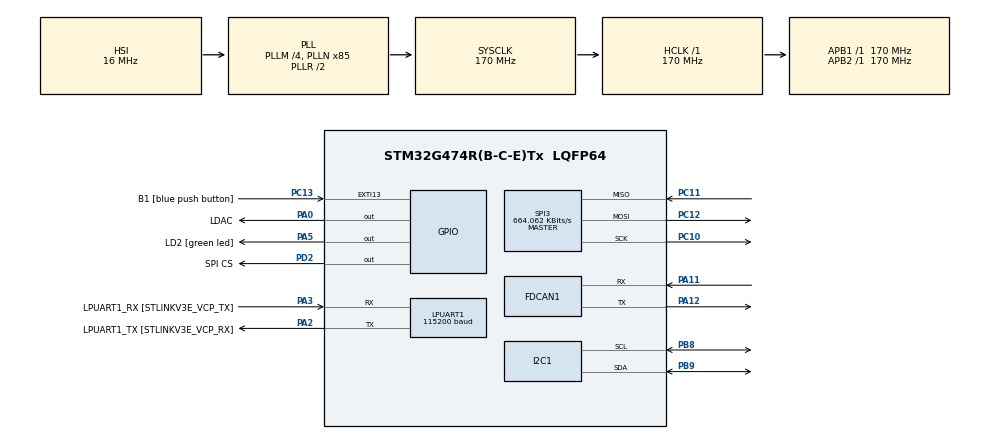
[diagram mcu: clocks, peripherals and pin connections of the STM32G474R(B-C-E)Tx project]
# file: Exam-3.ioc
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Dma.I2C1_RX.0.Direction=DMA_PERIPH_TO_MEMORY
Dma.I2C1_RX.0.EventEnable=DISABLE
Dma.I2C1_RX.0.Instance=DMA1_Channel1
Dma.I2C1_RX.0.MemDataAlignment=DMA_MDATAALIGN_BYTE
Dma.I2C1_RX.0.MemInc=DMA_MINC_ENABLE
Dma.I2C1_RX.0.Mode=DMA_NORMAL
Dma.I2C1_RX.0.PeriphDataAlignment=DMA_PDATAALIGN_BYTE
Dma.I2C1_RX.0.PeriphInc=DMA_PINC_DISABLE
Dma.I2C1_RX.0.Polarity=HAL_DMAMUX_REQ_GEN_RISING
Dma.I2C1_RX.0.Priority=DMA_PRIORITY_LOW
Dma.I2C1_RX.0.RequestNumber=1
Dma.I2C1_RX.0.SignalID=NONE
Dma.I2C1_RX.0.SyncEnable=DISABLE
Dma.I2C1_RX.0.SyncPolarity=HAL_DMAMUX_SYNC_NO_EVENT
Dma.I2C1_RX.0.SyncRequestNumber=1
Dma.I2C1_RX.0.SyncSignalID=NONE
Dma.I2C1_TX.1.Direction=DMA_MEMORY_TO_PERIPH
Dma.I2C1_TX.1.EventEnable=DISABLE
Dma.I2C1_TX.1.Instance=DMA1_Channel2
Dma.I2C1_TX.1.MemDataAlignment=DMA_MDATAALIGN_BYTE
Dma.I2C1_TX.1.MemInc=DMA_MINC_ENABLE
Dma.I2C1_TX.1.Mode=DMA_NORMAL
Dma.I2C1_TX.1.PeriphDataAlignment=DMA_PDATAALIGN_BYTE
Dma.I2C1_TX.1.PeriphInc=DMA_PINC_DISABLE
Dma.I2C1_TX.1.Polarity=HAL_DMAMUX_REQ_GEN_RISING
Dma.I2C1_TX.1.Priority=DMA_PRIORITY_LOW
Dma.I2C1_TX.1.RequestNumber=1
Dma.I2C1_TX.1.SignalID=NONE
Dma.I2C1_TX.1.SyncEnable=DISABLE
Dma.I2C1_TX.1.SyncPolarity=HAL_DMAMUX_SYNC_NO_EVENT
Dma.I2C1_TX.1.SyncRequestNumber=1
Dma.I2C1_TX.1.SyncSignalID=NONE
Dma.Request0=I2C1_RX
Dma.Request1=I2C1_TX
FDCAN1.CalculateBaudRateNominal=1000000
FDCAN1.CalculateTimeBitNominal=1000
FDCAN1.CalculateTimeQuantumNominal=100.0
FDCAN1.DataTimeSeg1=7
FDCAN1.DataTimeSeg2=2
FDCAN1.FrameFormat=FDCAN_FRAME_FD_BRS
FDCAN1.Mode=FDCAN_MODE_EXTERNAL_LOOPBACK
FDCAN1.NominalPrescaler=17
FDCAN1.NominalTimeSeg1=7
I2C1.Timing=0x30A0A7FB
LPUART1.BaudRate=115200
LPUART1.WordLength=UART_WORDLENGTH_8B
Mcu.Family=STM32G4
Mcu.Name=STM32G474R(B-C-E)Tx
Mcu.Package=LQFP64
NVIC.DMA1_Channel1_IRQn=true\:0\:0\:false\:false\:true\:false\:true\:true
NVIC.DMA1_Channel2_IRQn=true\:0\:0\:false\:false\:true\:false\:true\:true
NVIC.EXTI15_10_IRQn=true\:0\:0\:false\:false\:true\:true\:true\:true
NVIC.I2C1_ER_IRQn=true\:0\:0\:false\:false\:true\:true\:true\:true
NVIC.I2C1_EV_IRQn=true\:0\:0\:false\:false\:true\:true\:true\:true
NVIC.PriorityGroup=NVIC_PRIORITYGROUP_4
NVIC.SPI3_IRQn=true\:0\:0\:false\:false\:true\:true\:true\:true
PA0.GPIO_Label=LDAC
PA0.PinState=GPIO_PIN_SET
PA0.Signal=GPIO_Output
PA11.Mode=FDCAN_Activate
PA11.Signal=FDCAN1_RX
PA12.Mode=FDCAN_Activate
PA12.Signal=FDCAN1_TX
PA13.GPIO_Label=T_SWDIO
PA13.Mode=Serial_Wire
PA13.Signal=SYS_JTMS-SWDIO
PA14.GPIO_Label=T_SWCLK
PA14.Mode=Serial_Wire
PA14.Signal=SYS_JTCK-SWCLK
PA2.GPIO_Label=LPUART1_TX [STLINKV3E_VCP_RX]
PA2.Mode=Asynchronous
PA2.Signal=LPUART1_TX
PA3.GPIO_Label=LPUART1_RX [STLINKV3E_VCP_TX]
PA3.Mode=Asynchronous
PA3.Signal=LPUART1_RX
PA5.GPIO_Label=LD2 [green led]
PA5.Signal=GPIO_Output
PB3.GPIO_Label=T_SWO
PB3.Signal=SYS_JTDO-SWO
PB8-BOOT0.Mode=I2C
PB8-BOOT0.Signal=I2C1_SCL
PB9.Mode=I2C
PB9.Signal=I2C1_SDA
PC10.Mode=Full_Duplex_Master
PC10.Signal=SPI3_SCK
PC11.Mode=Full_Duplex_Master
PC11.Signal=SPI3_MISO
PC12.Mode=Full_Duplex_Master
PC12.Signal=SPI3_MOSI
PC13.GPIO_Label=B1 [blue push button]
PC13.Signal=GPXTI13
PC14-OSC32_IN.Mode=LSE-External-Oscillator
PC14-OSC32_IN.Signal=RCC_OSC32_IN
PC15-OSC32_OUT.Mode=LSE-External-Oscillator
PC15-OSC32_OUT.Signal=RCC_OSC32_OUT
PD2.GPIO_Label=SPI CS
PD2.PinState=GPIO_PIN_SET
PD2.Signal=GPIO_Output
PF0-OSC_IN.Mode=HSE-External-Oscillator
PF0-OSC_IN.Signal=RCC_OSC_IN
PF1-OSC_OUT.Mode=HSE-External-Oscillator
PF1-OSC_OUT.Signal=RCC_OSC_OUT
ProjectManager.HeapSize=0x200
ProjectManager.StackSize=0x400
ProjectManager.TargetToolchain=STM32CubeIDE
RCC.ADC12Freq_Value=170000000
RCC.ADC345Freq_Value=170000000
RCC.AHBFreq_Value=170000000
RCC.APB1Freq_Value=170000000
RCC.APB1TimFreq_Value=170000000
RCC.APB2Freq_Value=170000000
RCC.APB2TimFreq_Value=170000000
RCC.CortexFreq_Value=170000000
RCC.EXTERNAL_CLOCK_VALUE=12288000
RCC.HCLKFreq_Value=170000000
RCC.HSE_VALUE=24000000
RCC.HSI48_VALUE=48000000
RCC.HSI_VALUE=16000000
RCC.PLLM=RCC_PLLM_DIV4
RCC.PLLN=85
RCC.RTCClockSelection=RCC_RTCCLKSOURCE_LSE
RCC.SYSCLKFreq_VALUE=170000000
RCC.SYSCLKSource=RCC_SYSCLKSOURCE_PLLCLK
RCC.USBFreq_Value=170000000
RCC.VCOOutputFreq_Value=340000000
SPI3.BaudRatePrescaler=SPI_BAUDRATEPRESCALER_256
SPI3.CLKPhase=SPI_PHASE_2EDGE
SPI3.CLKPolarity=SPI_POLARITY_HIGH
SPI3.CalculateBaudRate=664.062 KBits/s
SPI3.DataSize=SPI_DATASIZE_16BIT
SPI3.Direction=SPI_DIRECTION_2LINES
SPI3.Mode=SPI_MODE_MASTER
SPI3.VirtualType=VM_MASTER
VP_SYS_VS_DBSignals.Mode=DisableDeadBatterySignals
board=NUCLEO-G474RE

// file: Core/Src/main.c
/* USER CODE BEGIN Header */
/**
  ******************************************************************************
  * @file           : main.c
  * @brief          : Main program body
  ******************************************************************************
  * @attention
  *
  * Copyright (c) 2024 STMicroelectronics.
  * All rights reserved.
  *
  * This software is licensed under terms that can be found in the LICENSE file
  * in the root directory of this software component.
  * If no LICENSE file comes with this software, it is provided AS-IS.
  *
  ******************************************************************************
  */
/* USER CODE END Header */
#include "main.h"

/* USER CODE BEGIN PD */
#define MCP4922_CMDA 0x7000 //DAC_A
#define MCP4922_CMDB 0xF000 //DAC_B
#define EEPROM_ADDR 0b10100000
/* USER CODE END PD */

FDCAN_HandleTypeDef hfdcan1;

I2C_HandleTypeDef hi2c1;
DMA_HandleTypeDef hdma_i2c1_rx;
DMA_HandleTypeDef hdma_i2c1_tx;

UART_HandleTypeDef hlpuart1;

SPI_HandleTypeDef hspi3;

/* USER CODE BEGIN PV */

uint16_t dAC = 0;
uint8_t ch = 0;

uint8_t data[6] = { 0x65, 0x34, 0x05, 0x00, 0x05, 0x10};
uint8_t eepromExampleWriteFlag = 0;
uint8_t eepromExampleReadFlag = 0;
uint8_t eepromDataReadBack[6];

FDCAN_RxHeaderTypeDef pRxHeader;
uint8_t redata[8];
uint8_t pTxData[8]={0x72,0x65,0x71,0x75,0x65,0x73,0x74,0x61};
/* USER CODE END PV */

void SystemClock_Config(void);
static void MX_GPIO_Init(void);
static void MX_DMA_Init(void);
static void MX_LPUART1_UART_Init(void);
static void MX_SPI3_Init(void);
static void MX_I2C1_Init(void);
static void MX_FDCAN1_Init(void);
/* USER CODE BEGIN PFP */

//SPI MCP
void MCP4922_SendData(uint8_t chh, uint16_t data);
//I2C Mem
void EEPROMWriteExample();
void EEPROMReadExample(uint8_t *Rdata, uint16_t len);

/* USER CODE END PFP */

int main(void)
{

  /* MCU Configuration--------------------------------------------------------*/

  /* Reset of all peripherals, Initializes the Flash interface and the Systick. */
  HAL_Init();

  /* Configure the system clock */
  SystemClock_Config();

  /* Initialize all configured peripherals */
  MX_GPIO_Init();
  MX_DMA_Init();
  MX_LPUART1_UART_Init();
  MX_SPI3_Init();
  MX_I2C1_Init();
  MX_FDCAN1_Init();
  /* USER CODE BEGIN 2 */

  FDCAN_FilterTypeDef sFilterConfig =
  {
	  .FilterConfig = FDCAN_FILTER_TO_RXFIFO0,
	  .FilterIndex = 0,
	  .FilterID1 = 0x45,
	  .IdType = FDCAN_STANDARD_ID,
	  .FilterType = FDCAN_FILTER_RANGE
  };

  HAL_FDCAN_ConfigFilter(&hfdcan1, &sFilterConfig);
  HAL_FDCAN_Start(&hfdcan1);

  /* USER CODE END 2 */

  /* Infinite loop */
  while (1)
  {

    /* USER CODE BEGIN 3 */

	  //SPIDataSent
	  MCP4922_SendData(ch,dAC);

	  //I2cWrite & Read Functions
	  EEPROMWriteExample();
	  EEPROMReadExample(eepromDataReadBack, 6);

	  //CAN Tx Head Setup
	  FDCAN_TxHeaderTypeDef pTxHeader =
	  {
	  .BitRateSwitch = FDCAN_BRS_OFF,
	  .DataLength = FDCAN_DLC_BYTES_8,
	  .ErrorStateIndicator = FDCAN_ESI_ACTIVE,
	  .FDFormat = FDCAN_DATA_FRAME,
	  .IdType = FDCAN_STANDARD_ID,
	  .Identifier = 0x67,
	  .MessageMarker = 1,
	  .TxEventFifoControl = FDCAN_TX_EVENT
	  };

	  //CAN Sent Message
	  HAL_FDCAN_AddMessageToTxFifoQ(&hfdcan1, &pTxHeader, pTxData);

	  //Simple Delay
      HAL_Delay(1000);
      HAL_FDCAN_GetRxMessage(&hfdcan1, FDCAN_RX_FIFO0, &pRxHeader, redata);
  }
  /* USER CODE END 3 */
}

void SystemClock_Config(void)
{
  RCC_OscInitTypeDef RCC_OscInitStruct = {0};
  RCC_ClkInitTypeDef RCC_ClkInitStruct = {0};

  /** Configure the main internal regulator output voltage
  */
  HAL_PWREx_ControlVoltageScaling(PWR_REGULATOR_VOLTAGE_SCALE1_BOOST);

  /** Initializes the RCC Oscillators according to the specified parameters
  * in the RCC_OscInitTypeDef structure.
  */
  RCC_OscInitStruct.OscillatorType = RCC_OSCILLATORTYPE_HSI;
  RCC_OscInitStruct.HSIState = RCC_HSI_ON;
  RCC_OscInitStruct.HSICalibrationValue = RCC_HSICALIBRATION_DEFAULT;
  RCC_OscInitStruct.PLL.PLLState = RCC_PLL_ON;
  RCC_OscInitStruct.PLL.PLLSource = RCC_PLLSOURCE_HSI;
  RCC_OscInitStruct.PLL.PLLM = RCC_PLLM_DIV4;
  RCC_OscInitStruct.PLL.PLLN = 85;
  RCC_OscInitStruct.PLL.PLLP = RCC_PLLP_DIV2;
  RCC_OscInitStruct.PLL.PLLQ = RCC_PLLQ_DIV2;
  RCC_OscInitStruct.PLL.PLLR = RCC_PLLR_DIV2;
  if (HAL_RCC_OscConfig(&RCC_OscInitStruct) != HAL_OK)
  {
    Error_Handler();
  }

  /** Initializes the CPU, AHB and APB buses clocks
  */
  RCC_ClkInitStruct.ClockType = RCC_CLOCKTYPE_HCLK|RCC_CLOCKTYPE_SYSCLK
                              |RCC_CLOCKTYPE_PCLK1|RCC_CLOCKTYPE_PCLK2;
  RCC_ClkInitStruct.SYSCLKSource = RCC_SYSCLKSOURCE_PLLCLK;
  RCC_ClkInitStruct.AHBCLKDivider = RCC_SYSCLK_DIV1;
  RCC_ClkInitStruct.APB1CLKDivider = RCC_HCLK_DIV1;
  RCC_ClkInitStruct.APB2CLKDivider = RCC_HCLK_DIV1;

  if (HAL_RCC_ClockConfig(&RCC_ClkInitStruct, FLASH_LATENCY_4) != HAL_OK)
  {
    Error_Handler();
  }
}

static void MX_FDCAN1_Init(void)
{

  hfdcan1.Instance = FDCAN1;
  hfdcan1.Init.ClockDivider = FDCAN_CLOCK_DIV1;
  hfdcan1.Init.FrameFormat = FDCAN_FRAME_FD_BRS;
  hfdcan1.Init.Mode = FDCAN_MODE_EXTERNAL_LOOPBACK;
  hfdcan1.Init.AutoRetransmission = DISABLE;
  hfdcan1.Init.TransmitPause = DISABLE;
  hfdcan1.Init.ProtocolException = DISABLE;
  hfdcan1.Init.NominalPrescaler = 17;
  hfdcan1.Init.NominalSyncJumpWidth = 1;
  hfdcan1.Init.NominalTimeSeg1 = 7;
  hfdcan1.Init.NominalTimeSeg2 = 2;
  hfdcan1.Init.DataPrescaler = 1;
  hfdcan1.Init.DataSyncJumpWidth = 1;
  hfdcan1.Init.DataTimeSeg1 = 7;
  hfdcan1.Init.DataTimeSeg2 = 2;
  hfdcan1.Init.StdFiltersNbr = 0;
  hfdcan1.Init.ExtFiltersNbr = 0;
  hfdcan1.Init.TxFifoQueueMode = FDCAN_TX_FIFO_OPERATION;
  if (HAL_FDCAN_Init(&hfdcan1) != HAL_OK)
  {
    Error_Handler();
  }

}

static void MX_I2C1_Init(void)
{

  hi2c1.Instance = I2C1;
  hi2c1.Init.Timing = 0x30A0A7FB;
  hi2c1.Init.OwnAddress1 = 0;
  hi2c1.Init.AddressingMode = I2C_ADDRESSINGMODE_7BIT;
  hi2c1.Init.DualAddressMode = I2C_DUALADDRESS_DISABLE;
  hi2c1.Init.OwnAddress2 = 0;
  hi2c1.Init.OwnAddress2Masks = I2C_OA2_NOMASK;
  hi2c1.Init.GeneralCallMode = I2C_GENERALCALL_DISABLE;
  hi2c1.Init.NoStretchMode = I2C_NOSTRETCH_DISABLE;
  if (HAL_I2C_Init(&hi2c1) != HAL_OK)
  {
    Error_Handler();
  }

  /** Configure Analogue filter
  */
  if (HAL_I2CEx_ConfigAnalogFilter(&hi2c1, I2C_ANALOGFILTER_ENABLE) != HAL_OK)
  {
    Error_Handler();
  }

  /** Configure Digital filter
  */
  if (HAL_I2CEx_ConfigDigitalFilter(&hi2c1, 0) != HAL_OK)
  {
    Error_Handler();
  }

}

static void MX_LPUART1_UART_Init(void)
{

  hlpuart1.Instance = LPUART1;
  hlpuart1.Init.BaudRate = 115200;
  hlpuart1.Init.WordLength = UART_WORDLENGTH_8B;
  hlpuart1.Init.StopBits = UART_STOPBITS_1;
  hlpuart1.Init.Parity = UART_PARITY_NONE;
  hlpuart1.Init.Mode = UART_MODE_TX_RX;
  hlpuart1.Init.HwFlowCtl = UART_HWCONTROL_NONE;
  hlpuart1.Init.OneBitSampling = UART_ONE_BIT_SAMPLE_DISABLE;
  hlpuart1.Init.ClockPrescaler = UART_PRESCALER_DIV1;
  hlpuart1.AdvancedInit.AdvFeatureInit = UART_ADVFEATURE_NO_INIT;
  if (HAL_UART_Init(&hlpuart1) != HAL_OK)
  {
    Error_Handler();
  }
  if (HAL_UARTEx_SetTxFifoThreshold(&hlpuart1, UART_TXFIFO_THRESHOLD_1_8) != HAL_OK)
  {
    Error_Handler();
  }
  if (HAL_UARTEx_SetRxFifoThreshold(&hlpuart1, UART_RXFIFO_THRESHOLD_1_8) != HAL_OK)
  {
    Error_Handler();
  }
  if (HAL_UARTEx_DisableFifoMode(&hlpuart1) != HAL_OK)
  {
    Error_Handler();
  }

}

static void MX_SPI3_Init(void)
{

  /* SPI3 parameter configuration*/
  hspi3.Instance = SPI3;
  hspi3.Init.Mode = SPI_MODE_MASTER;
  hspi3.Init.Direction = SPI_DIRECTION_2LINES;
  hspi3.Init.DataSize = SPI_DATASIZE_16BIT;
  hspi3.Init.CLKPolarity = SPI_POLARITY_HIGH;
  hspi3.Init.CLKPhase = SPI_PHASE_2EDGE;
  hspi3.Init.NSS = SPI_NSS_SOFT;
  hspi3.Init.BaudRatePrescaler = SPI_BAUDRATEPRESCALER_256;
  hspi3.Init.FirstBit = SPI_FIRSTBIT_MSB;
  hspi3.Init.TIMode = SPI_TIMODE_DISABLE;
  hspi3.Init.CRCCalculation = SPI_CRCCALCULATION_DISABLE;
  hspi3.Init.CRCPolynomial = 7;
  hspi3.Init.CRCLength = SPI_CRC_LENGTH_DATASIZE;
  hspi3.Init.NSSPMode = SPI_NSS_PULSE_DISABLE;
  if (HAL_SPI_Init(&hspi3) != HAL_OK)
  {
    Error_Handler();
  }

}

static void MX_DMA_Init(void)
{

  /* DMA controller clock enable */
  __HAL_RCC_DMAMUX1_CLK_ENABLE();
  __HAL_RCC_DMA1_CLK_ENABLE();

  /* DMA interrupt init */
  /* DMA1_Channel1_IRQn interrupt configuration */
  HAL_NVIC_SetPriority(DMA1_Channel1_IRQn, 0, 0);
  HAL_NVIC_EnableIRQ(DMA1_Channel1_IRQn);
  /* DMA1_Channel2_IRQn interrupt configuration */
  HAL_NVIC_SetPriority(DMA1_Channel2_IRQn, 0, 0);
  HAL_NVIC_EnableIRQ(DMA1_Channel2_IRQn);

}

static void MX_GPIO_Init(void)
{
  GPIO_InitTypeDef GPIO_InitStruct = {0};

  /* GPIO Ports Clock Enable */
  __HAL_RCC_GPIOC_CLK_ENABLE();
  __HAL_RCC_GPIOF_CLK_ENABLE();
  __HAL_RCC_GPIOA_CLK_ENABLE();
  __HAL_RCC_GPIOD_CLK_ENABLE();
  __HAL_RCC_GPIOB_CLK_ENABLE();

  /*Configure GPIO pin Output Level */
  HAL_GPIO_WritePin(LDAC_GPIO_Port, LDAC_Pin, GPIO_PIN_SET);

  /*Configure GPIO pin Output Level */
  HAL_GPIO_WritePin(LD2_GPIO_Port, LD2_Pin, GPIO_PIN_RESET);

  /*Configure GPIO pin Output Level */
  HAL_GPIO_WritePin(SPI_CS_GPIO_Port, SPI_CS_Pin, GPIO_PIN_SET);

  /*Configure GPIO pin : B1_Pin */
  GPIO_InitStruct.Pin = B1_Pin;
  GPIO_InitStruct.Mode = GPIO_MODE_IT_RISING;
  GPIO_InitStruct.Pull = GPIO_NOPULL;
  HAL_GPIO_Init(B1_GPIO_Port, &GPIO_InitStruct);

  /*Configure GPIO pins : LDAC_Pin LD2_Pin */
  GPIO_InitStruct.Pin = LDAC_Pin|LD2_Pin;
  GPIO_InitStruct.Mode = GPIO_MODE_OUTPUT_PP;
  GPIO_InitStruct.Pull = GPIO_NOPULL;
  GPIO_InitStruct.Speed = GPIO_SPEED_FREQ_LOW;
  HAL_GPIO_Init(GPIOA, &GPIO_InitStruct);

  /*Configure GPIO pin : SPI_CS_Pin */
  GPIO_InitStruct.Pin = SPI_CS_Pin;
  GPIO_InitStruct.Mode = GPIO_MODE_OUTPUT_PP;
  GPIO_InitStruct.Pull = GPIO_NOPULL;
  GPIO_InitStruct.Speed = GPIO_SPEED_FREQ_LOW;
  HAL_GPIO_Init(SPI_CS_GPIO_Port, &GPIO_InitStruct);

  /* EXTI interrupt init*/
  HAL_NVIC_SetPriority(EXTI15_10_IRQn, 0, 0);
  HAL_NVIC_EnableIRQ(EXTI15_10_IRQn);

}

/* USER CODE BEGIN 4 */

void MCP4922_SendData(uint8_t chh,uint16_t data)
{
    // Combine command and data
	uint16_t command = MCP4922_CMDA | (data & 0x0FFF);

	if (chh == 0)
	{
		command = MCP4922_CMDA | (data & 0x0FFF);
	}
	else if (chh == 1)
	{
		command = MCP4922_CMDB | (data & 0x0FFF);
	}

    // Select the MCP4922 by setting CS low
    HAL_GPIO_WritePin(GPIOD, GPIO_PIN_2, GPIO_PIN_RESET);

    // Transmit the data via SPI
    HAL_SPI_Transmit(&hspi3, (uint8_t*)&command, 1, 10);

    // Deselect the MCP4922 by setting CS high
    HAL_GPIO_WritePin(GPIOD, GPIO_PIN_2, GPIO_PIN_SET);
}

void EEPROMWriteExample()
{
	if (eepromExampleWriteFlag && hi2c1.State == HAL_I2C_STATE_READY)
	{
		HAL_I2C_Mem_Write_IT(&hi2c1, EEPROM_ADDR, 0x99, I2C_MEMADD_SIZE_16BIT, data, 6);
		eepromExampleWriteFlag = 0;
	}
}

void EEPROMReadExample(uint8_t *Rdata, uint16_t len)
{
	if (eepromExampleReadFlag && hi2c1.State == HAL_I2C_STATE_READY)
	{
		HAL_I2C_Mem_Read_IT(&hi2c1, EEPROM_ADDR, 0x99, I2C_MEMADD_SIZE_16BIT, Rdata, len);
		eepromExampleReadFlag = 0;
	}
}
/* USER CODE END 4 */

void Error_Handler(void)
{
  __disable_irq();
  while (1)
  {
  }
}
